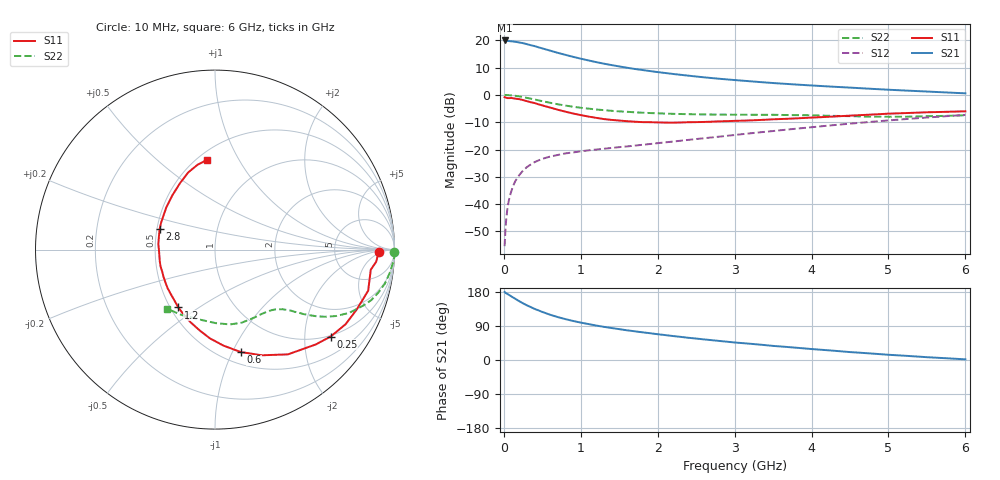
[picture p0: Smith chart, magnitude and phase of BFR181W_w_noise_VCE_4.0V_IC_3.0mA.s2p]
! Infineon Technologies  Discrete & RF Semiconductors
! BFR181W
! VCE =  4.0 V,  IC =  3.0 mA
! Common Emitter S-Parameters:  Jan 2017
# GHz  S  MA  R  50
!  f  S11  S21  S12  S22
! GHz  MAG  ANG  MAG  ANG  MAG  ANG  MAG  ANG
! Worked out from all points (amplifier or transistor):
!   77 points, 10 MHz to 6 GHz, reference 50 ohm
!   highest |S21| = 20.0 dB at 10 MHz (marker M1)
!   |S21| within 3 dB of that: start of sweep to 511.4 MHz
!   unconditionally stable (mu >= 1): 1.624 GHz to 3.694 GHz
!   at 130 MHz: K = 0.10, MSG = 26.2 dB, |S12| = -32.8 dB
!   at 2.2 GHz: K = 1.09, MAG = 10.5 dB, |S12| = -17.1 dB
!   at 6 GHz: K = 0.84, MSG = 4.0 dB, |S12| = -7.3 dB
!   lowest NFmin = 0.87 dB at 450 MHz
!   S11 on the Smith chart (normalised r, x): 10 MHz: 21, -3; 250 MHz: 0.97, -2.69; 600 MHz: 0.62, -1.08; 1.2 GHz: 0.55, -0.41; 2.8 GHz: 0.52, +0.13; 6 GHz: 0.56, +0.75
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0.01  0.9123 -0.7  9.974 179.7  0.0017 91.5  0.9997 -0.8
0.02  0.9007 -4.3  9.942 177.3  0.0032 98.6  1 -1.5
0.03  0.8918 -5.3  9.888 176.2  0.0051 90.8  1 -2.3
0.07  0.8766 -10.5  9.709 171.4  0.0125 83.1  0.9893 -5.4
0.15  0.8574 -22.9  9.445 161.4  0.0266 78.0  0.9656 -11.3
0.25  0.8064 -36.9  8.893 149.5  0.0414 70.0  0.9163 -17.8
0.3  0.7709 -43.3  8.534 144.2  0.0478 67.1  0.8852 -20.5
0.4  0.711 -55.2  7.855 134.8  0.059 61.7  0.8269 -25.2
0.5  0.6447 -66.0  7.136 126.8  0.0677 57.2  0.7704 -28.7
0.6  0.589 -75.8  6.506 119.6  0.0743 54.5  0.7204 -31.3
0.7  0.5374 -84.9  5.923 113.3  0.0796 52.3  0.6767 -33.3
0.8  0.4953 -93.3  5.439 107.9  0.0851 51.2  0.64 -34.8
0.9  0.4581 -100.8  4.996 103.0  0.0887 50.2  0.6095 -36.1
1.1  0.4028 -115.5  4.294 94.8  0.0968 49.8  0.5626 -38.0
1.2  0.3815 -122.4  4.004 91.0  0.1001 49.5  0.5428 -38.8
1.6  0.331 -146.7  3.156 78.4  0.1141 51.3  0.4926 -42.5
2.1  0.3121 -172.5  2.525 65.7  0.1356 54.2  0.4564 -48.5
2.8  0.3289 159.7  1.983 50.3  0.1725 56.8  0.438 -59.1
3.1  0.3384 150.6  1.83 44.6  0.1916 57.0  0.4345 -63.7
4.1  0.3909 125.7  1.466 27.4  0.2648 54.9  0.4209 -80.8
5.1  0.4597 107.6  1.229 12.6  0.3508 48.6  0.399 -105.6
6  0.5026 94.9  1.072 1.7  0.4317 40.5  0.4251 -129.4
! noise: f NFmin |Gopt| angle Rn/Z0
0.45  0.87  0.47  17  0.27
0.9  0.93  0.42  32  0.26
1.9  1.34  0.24  80  0.21
2.4  1.55  0.21  94  0.23
